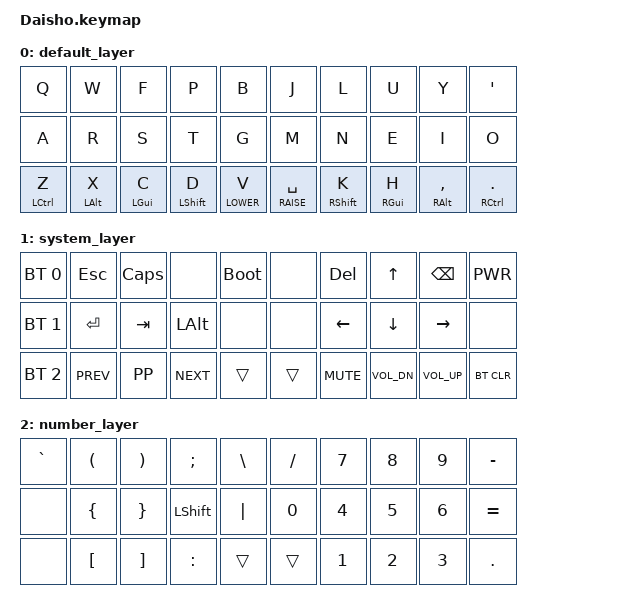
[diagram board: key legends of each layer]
#include <behaviors.dtsi>
#include <dt-bindings/zmk/keys.h>
#include <dt-bindings/zmk/bt.h>

#define DEFAULT 0
#define RAISE 1
#define LOWER 2

&lt {
    tapping-term-ms = <200>;
};

&mt {
    tapping-term-ms = <400>;
}

/ { 
    keymap { 
        compatible = "zmk,keymap";
        
        default_layer {
            bindings = <
                &kp Q        &kp W       &kp F       &kp P        &kp B       &kp J           &kp L       &kp U       &kp Y          &kp SQT
                &kp A        &kp R       &kp S       &kp T        &kp G       &kp M           &kp N       &kp E       &kp I          &kp O
                &mt LCTRL Z  &mt LALT X  &mt LGUI C  &mt LSHFT D  &lt LOWER V &lt RAISE SPACE &mt RSHFT K &mt RGUI H  &mt RALT COMMA &mt RCTRL DOT
            >;
        };
        system_layer {
           bindings = <
               &bt BT_SEL 0  &kp ESC     &kp CAPS  &none       &bootloader   &none   &kp DEL     &kp UP        &kp BSPC      &kp K_PWR
               &bt BT_SEL 1  &kp RET     &kp TAB   &kp LALT    &none   &none   &kp LEFT    &kp DOWN      &kp RIGHT     &none
               &bt BT_SEL 2  &kp K_PREV  &kp K_PP  &kp K_NEXT  &trans  &trans  &kp K_MUTE  &kp K_VOL_DN  &kp K_VOL_UP  &bt BT_CLR
           >;
        };
        number_layer {
           bindings = <
               &kp GRAVE  &kp LPAR  &kp RPAR  &kp SEMI   &kp BSLH  &kp FSLH  &kp N7  &kp N8  &kp N9  &kp MINUS
               &none      &kp LBRC  &kp RBRC  &kp LSHFT  &kp PIPE  &kp N0    &kp N4  &kp N5  &kp N6  &kp EQUAL
               &none      &kp LBKT  &kp RBKT  &kp COLON  &trans    &trans    &kp N1  &kp N2  &kp N3  &kp DOT
           >;
        };
    };
};
